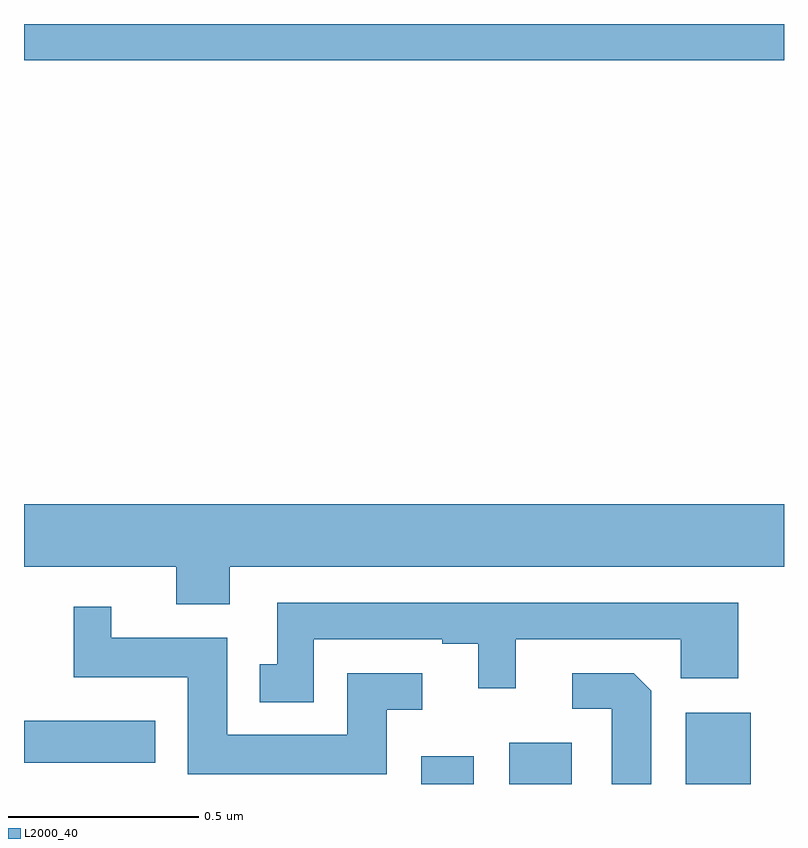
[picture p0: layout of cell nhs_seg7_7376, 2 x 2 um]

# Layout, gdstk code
import gdstk
lib = gdstk.Library(unit=1e-6, precision=1e-09)
def R(c, l, rs):  # rectangles x0, y0, x1, y1
    for r in rs: c.add(gdstk.rectangle(r[:2], r[2:], *l))
def P(c, l, *ps):  # polygons
    for p in ps: c.add(gdstk.Polygon(p, *l))
L2000_40 = (2000, 40)

nhs_seg7_7376 = lib.new_cell('nhs_seg7_7376')
R(nhs_seg7_7376, L2000_40, [(211.046,1044,211.183,1044.073), (211.277,1044,211.441,1044.109), (211.742,1044,211.913,1044.187), (210,1044.056,210.346,1044.166), (210,1045.904,212,1046)])
P(nhs_seg7_7376, L2000_40, [(210.541,1044.572),(212,1044.572),(212,1044.736),(210,1044.736),(210,1044.572),(210.401,1044.572),(210.401,1044.473),(210.541,1044.473)],
  [(210.762,1044.381),(211.1,1044.381),(211.1,1044.369),(211.196,1044.369),(211.196,1044.252),(211.294,1044.252),(211.294,1044.381),(211.728,1044.381),(211.728,1044.278),(211.88,1044.278),(211.88,1044.477),(210.666,1044.477),(210.666,1044.315),(210.62,1044.315),(210.62,1044.215),(210.762,1044.215)],
  [(210.955,1044.195),(211.048,1044.195),(211.048,1044.291),(210.851,1044.291),(210.851,1044.13),(210.535,1044.13),(210.535,1044.385),(210.229,1044.385),(210.229,1044.466),(210.131,1044.466),(210.131,1044.281),(210.431,1044.281),(210.431,1044.026),(210.955,1044.026)],
  [(211.651,1044.134),(211.65,1044.134),(211.65,1044.245),(211.604,1044.291),(211.443,1044.291),(211.443,1044.198),(211.547,1044.198),(211.547,1044),(211.651,1044)])

lib.write_gds('nhs_seg7_7376.gds')
